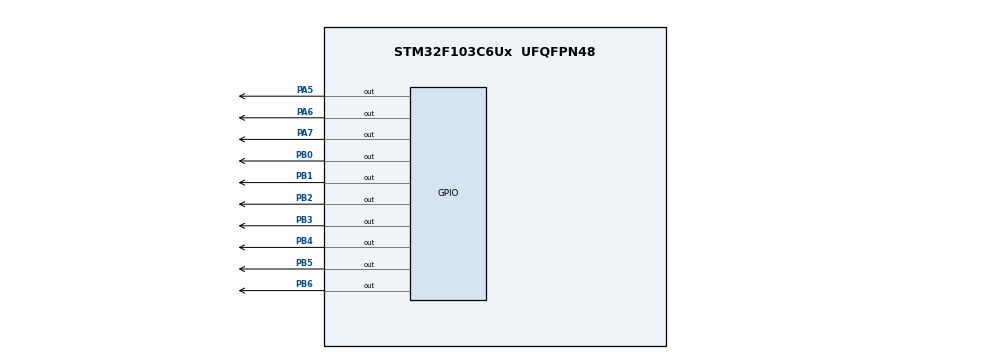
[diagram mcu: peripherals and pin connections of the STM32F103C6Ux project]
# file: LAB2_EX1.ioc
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Mcu.Family=STM32F1
Mcu.Name=STM32F103C6Ux
Mcu.Package=UFQFPN48
NVIC.PriorityGroup=NVIC_PRIORITYGROUP_4
NVIC.TIM2_IRQn=true\:0\:0\:false\:false\:true\:true\:true
PA5.Signal=GPIO_Output
PA6.Signal=GPIO_Output
PA7.Signal=GPIO_Output
PB0.Signal=GPIO_Output
PB1.Signal=GPIO_Output
PB2.Signal=GPIO_Output
PB3.Signal=GPIO_Output
PB4.Signal=GPIO_Output
PB5.Signal=GPIO_Output
PB6.Signal=GPIO_Output
ProjectManager.HeapSize=0x200
ProjectManager.StackSize=0x400
ProjectManager.TargetToolchain=STM32CubeIDE
RCC.APB1Freq_Value=8000000
RCC.APB2Freq_Value=8000000
TIM2.Period=9
TIM2.Prescaler=7999
VP_SYS_VS_ND.Mode=No_Debug
VP_TIM2_VS_ClockSourceINT.Mode=Internal
board=custom

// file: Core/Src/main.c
/* USER CODE BEGIN Header */
/**
  ******************************************************************************
  * @file           : main.c
  * @brief          : Main program body
  ******************************************************************************
  * @attention
  *
  * <h2><center>&copy; Copyright (c) 2025 STMicroelectronics.
  * All rights reserved.</center></h2>
  *
  * This software component is licensed by ST under BSD 3-Clause license,
  * the "License"; You may not use this file except in compliance with the
  * License. You may obtain a copy of the License at:
  *                        opensource.org/licenses/BSD-3-Clause
  *
  ******************************************************************************
  */
/* USER CODE END Header */
#include "main.h"

TIM_HandleTypeDef htim2;

void SystemClock_Config(void);
static void MX_GPIO_Init(void);
static void MX_TIM2_Init(void);

/* USER CODE BEGIN 0 */
  volatile int tick10ms = 0;
  volatile int secTick = 0;
  volatile int active = 0;

  void display7SEG(int num){
      HAL_GPIO_WritePin(GPIOB, 0x7F, GPIO_PIN_SET);

      switch(num){
          case 1:
              HAL_GPIO_WritePin(GPIOB, GPIO_PIN_1, GPIO_PIN_RESET);
              HAL_GPIO_WritePin(GPIOB, GPIO_PIN_2, GPIO_PIN_RESET);
              break;
          case 2:
              HAL_GPIO_WritePin(GPIOB, GPIO_PIN_0, GPIO_PIN_RESET);
              HAL_GPIO_WritePin(GPIOB, GPIO_PIN_1, GPIO_PIN_RESET);
              HAL_GPIO_WritePin(GPIOB, GPIO_PIN_3, GPIO_PIN_RESET);
              HAL_GPIO_WritePin(GPIOB, GPIO_PIN_4, GPIO_PIN_RESET);
              HAL_GPIO_WritePin(GPIOB, GPIO_PIN_6, GPIO_PIN_RESET);
              break;
      }
  }

  void disableAllDigits(void){
      HAL_GPIO_WritePin(GPIOA, GPIO_PIN_6, GPIO_PIN_SET);
      HAL_GPIO_WritePin(GPIOA, GPIO_PIN_7, GPIO_PIN_SET);
  }

  void enableDigit(int idx){
      if(idx == 0)
          HAL_GPIO_WritePin(GPIOA, GPIO_PIN_6, GPIO_PIN_RESET);
      else
          HAL_GPIO_WritePin(GPIOA, GPIO_PIN_7, GPIO_PIN_RESET);
  }
/* USER CODE END 0 */

int main(void)
{

  /* MCU Configuration--------------------------------------------------------*/

  /* Reset of all peripherals, Initializes the Flash interface and the Systick. */
  HAL_Init();

  /* Configure the system clock */
  SystemClock_Config();

  /* Initialize all configured peripherals */
  MX_GPIO_Init();
  MX_TIM2_Init();
  /* USER CODE BEGIN 2 */
  HAL_TIM_Base_Start_IT(&htim2);
  /* USER CODE END 2 */

  /* Infinite loop */
  while (1)
  {

  }
}

void SystemClock_Config(void)
{
  RCC_OscInitTypeDef RCC_OscInitStruct = {0};
  RCC_ClkInitTypeDef RCC_ClkInitStruct = {0};

  /** Initializes the RCC Oscillators according to the specified parameters
  * in the RCC_OscInitTypeDef structure.
  */
  RCC_OscInitStruct.OscillatorType = RCC_OSCILLATORTYPE_HSI;
  RCC_OscInitStruct.HSIState = RCC_HSI_ON;
  RCC_OscInitStruct.HSICalibrationValue = RCC_HSICALIBRATION_DEFAULT;
  RCC_OscInitStruct.PLL.PLLState = RCC_PLL_NONE;
  if (HAL_RCC_OscConfig(&RCC_OscInitStruct) != HAL_OK)
  {
    Error_Handler();
  }
  /** Initializes the CPU, AHB and APB buses clocks
  */
  RCC_ClkInitStruct.ClockType = RCC_CLOCKTYPE_HCLK|RCC_CLOCKTYPE_SYSCLK
                              |RCC_CLOCKTYPE_PCLK1|RCC_CLOCKTYPE_PCLK2;
  RCC_ClkInitStruct.SYSCLKSource = RCC_SYSCLKSOURCE_HSI;
  RCC_ClkInitStruct.AHBCLKDivider = RCC_SYSCLK_DIV1;
  RCC_ClkInitStruct.APB1CLKDivider = RCC_HCLK_DIV1;
  RCC_ClkInitStruct.APB2CLKDivider = RCC_HCLK_DIV1;

  if (HAL_RCC_ClockConfig(&RCC_ClkInitStruct, FLASH_LATENCY_0) != HAL_OK)
  {
    Error_Handler();
  }
}

static void MX_TIM2_Init(void)
{

  TIM_ClockConfigTypeDef sClockSourceConfig = {0};
  TIM_MasterConfigTypeDef sMasterConfig = {0};

  htim2.Instance = TIM2;
  htim2.Init.Prescaler = 7999;
  htim2.Init.CounterMode = TIM_COUNTERMODE_UP;
  htim2.Init.Period = 9;
  htim2.Init.ClockDivision = TIM_CLOCKDIVISION_DIV1;
  htim2.Init.AutoReloadPreload = TIM_AUTORELOAD_PRELOAD_DISABLE;
  if (HAL_TIM_Base_Init(&htim2) != HAL_OK)
  {
    Error_Handler();
  }
  sClockSourceConfig.ClockSource = TIM_CLOCKSOURCE_INTERNAL;
  if (HAL_TIM_ConfigClockSource(&htim2, &sClockSourceConfig) != HAL_OK)
  {
    Error_Handler();
  }
  sMasterConfig.MasterOutputTrigger = TIM_TRGO_RESET;
  sMasterConfig.MasterSlaveMode = TIM_MASTERSLAVEMODE_DISABLE;
  if (HAL_TIMEx_MasterConfigSynchronization(&htim2, &sMasterConfig) != HAL_OK)
  {
    Error_Handler();
  }

}

static void MX_GPIO_Init(void)
{
  GPIO_InitTypeDef GPIO_InitStruct = {0};

  /* GPIO Ports Clock Enable */
  __HAL_RCC_GPIOA_CLK_ENABLE();
  __HAL_RCC_GPIOB_CLK_ENABLE();

  /*Configure GPIO pin Output Level */
  HAL_GPIO_WritePin(GPIOA, GPIO_PIN_5|GPIO_PIN_6|GPIO_PIN_7, GPIO_PIN_RESET);

  /*Configure GPIO pin Output Level */
  HAL_GPIO_WritePin(GPIOB, GPIO_PIN_0|GPIO_PIN_1|GPIO_PIN_2|GPIO_PIN_3
                          |GPIO_PIN_4|GPIO_PIN_5|GPIO_PIN_6, GPIO_PIN_RESET);

  /*Configure GPIO pins : PA5 PA6 PA7 */
  GPIO_InitStruct.Pin = GPIO_PIN_5|GPIO_PIN_6|GPIO_PIN_7;
  GPIO_InitStruct.Mode = GPIO_MODE_OUTPUT_PP;
  GPIO_InitStruct.Pull = GPIO_NOPULL;
  GPIO_InitStruct.Speed = GPIO_SPEED_FREQ_LOW;
  HAL_GPIO_Init(GPIOA, &GPIO_InitStruct);

  /*Configure GPIO pins : PB0 PB1 PB2 PB3
                           PB4 PB5 PB6 */
  GPIO_InitStruct.Pin = GPIO_PIN_0|GPIO_PIN_1|GPIO_PIN_2|GPIO_PIN_3
                          |GPIO_PIN_4|GPIO_PIN_5|GPIO_PIN_6;
  GPIO_InitStruct.Mode = GPIO_MODE_OUTPUT_PP;
  GPIO_InitStruct.Pull = GPIO_NOPULL;
  GPIO_InitStruct.Speed = GPIO_SPEED_FREQ_LOW;
  HAL_GPIO_Init(GPIOB, &GPIO_InitStruct);

}

/* USER CODE BEGIN 4 */
void HAL_TIM_PeriodElapsedCallback(TIM_HandleTypeDef *htim){
    if(htim->Instance == TIM2){
        tick10ms++;
        secTick++;

        if(tick10ms >= 50){
            tick10ms = 0;
            disableAllDigits();

            if(active == 0){
                display7SEG(1);
                enableDigit(0);
                active = 1;
            }else{
                display7SEG(2);
                enableDigit(1);
                active = 0;
            }
        }

        if(secTick >= 100){
            secTick = 0;
            HAL_GPIO_TogglePin(GPIOA, GPIO_PIN_5);
        }
    }
}
/* USER CODE END 4 */

void Error_Handler(void)
{
  __disable_irq();
  while (1)
  {
  }
}

/************************ (C) COPYRIGHT STMicroelectronics *****END OF FILE****/
